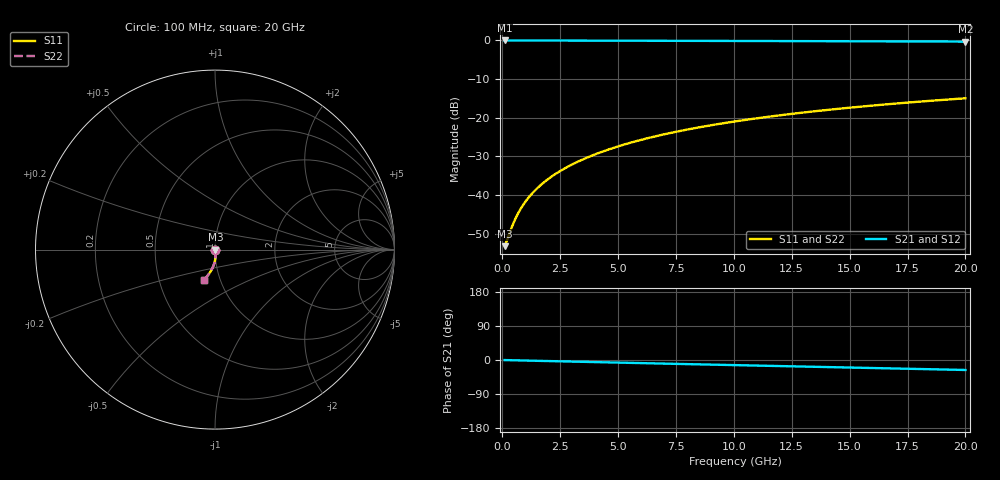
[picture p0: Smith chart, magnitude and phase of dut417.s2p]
! Touchstone file exported from HFSS 2026.1.0
!  File:  C:/ffzhzh/LocalFiles/Ansys_Project_Files/temp_train_BSMRDL_417_1783012664_53980.aedt
!  Generated:  01:19:01 AM Jul  3, 2026
!  Design:  BSMRDL
!  Project:  temp_train_BSMRDL_417_1783012664_53980
! Variables:
!  h_bsmrdl = 5.69um
!  h_ox = 20um
!  h_rdl = 5um
!  h_sub = 80um
!  h_tmrdl = 5um
!  h_tsv = 80um
!  h_via = 3um
!  l_bsmrdl = 433.73um
!  l_sub = 833.73um
!  l_tmrdl = 200um
!  m_sub = 200um
!  pitch = 15.47um
!  r_tsv = 6um
!  s_tmrdl = 10um
!  w_bsmrdl = 13.64um
!  w_sub = 500um
!  w_tmrdl = 12um
!  x_tsv_center1 = 206um
!  x_tsv_center2 = 653.37um
!  x_tsv_center3 = 865.37um
!  x_tsv_center4 = 1312.74um
!  x_tsv_center5 = 1524.74um
!  x_tsv_center6 = 1972.11um
# GHz S MA R 50.000000
! Terminal data exported
! Port[1] = BSM_RDL1_1_T1
! Port[2] = BSM_RDL1_1_T2
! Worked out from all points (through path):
!   200 points, 100 MHz to 20 GHz, reference 50 ohm
!   highest |S21| = -0.02 dB at 100 MHz (marker M1); lowest = -0.3 dB at 20 GHz (marker M2)
!   group delay of S21, straight-line fit = 3.63 ps
!   lowest |S11| = -53.2 dB at 100 MHz (marker M3), VSWR 1.00, Z = 50.2 - j0.0347 ohm
!   |S11| at or under -10 dB: start of sweep to end of sweep
!   |S22| runs from -53.2 to -15.0 dB; largest |S21 - S12| = 7.5e-15
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0.1  0.002192 -9.1  0.9978 -0.2  0.9978 -0.2  0.002192 -9.1
! Gamma 0 0 0 0
! Port Impedance 50 0 50 0
0.2  0.002594 -19.1  0.9975 -0.3  0.9975 -0.3  0.002594 -19.1
0.4  0.003791 -37.5  0.997 -0.6  0.997 -0.6  0.003791 -37.5
0.5  0.004482 -44.5  0.9968 -0.8  0.9968 -0.8  0.004482 -44.5
0.7  0.005947 -54.6  0.9965 -1.0  0.9965 -1.0  0.005947 -54.6
0.8  0.006704 -58.3  0.9963 -1.2  0.9963 -1.2  0.006704 -58.3
1  0.008248 -63.8  0.9961 -1.4  0.9961 -1.4  0.008248 -63.8
1.3  0.01062 -69.2  0.9959 -1.9  0.9959 -1.9  0.01062 -69.2
1.7  0.01384 -73.7  0.9955 -2.4  0.9955 -2.4  0.01384 -73.7
2.2  0.01798 -77.2  0.9949 -3.1  0.9949 -3.1  0.01798 -77.2
2.8  0.02306 -80.0  0.9942 -3.9  0.9942 -3.9  0.02306 -80.0
3.5  0.02916 -82.2  0.9932 -4.9  0.9932 -4.9  0.02916 -82.3
4.2  0.0354 -84.1  0.9922 -5.8  0.9922 -5.8  0.0354 -84.1
5  0.04267 -85.9  0.991 -6.9  0.991 -6.9  0.04267 -85.9
5.9  0.05098 -87.8  0.9896 -8.1  0.9896 -8.1  0.05097 -87.8
6.8  0.05935 -89.6  0.9882 -9.3  0.9882 -9.3  0.05934 -89.6
8.3  0.07338 -92.4  0.9859 -11.3  0.9859 -11.3  0.07336 -92.4
10.1  0.09017 -95.5  0.983 -13.6  0.983 -13.6  0.09015 -95.5
11.7  0.105 -98.1  0.9803 -15.7  0.9803 -15.7  0.105 -98.1
13.4  0.1205 -100.7  0.9774 -17.9  0.9774 -17.9  0.1205 -100.8
16.7  0.1501 -105.7  0.9711 -22.1  0.9711 -22.1  0.1501 -105.7
20  0.1786 -110.3  0.9642 -26.3  0.9642 -26.3  0.1786 -110.3
